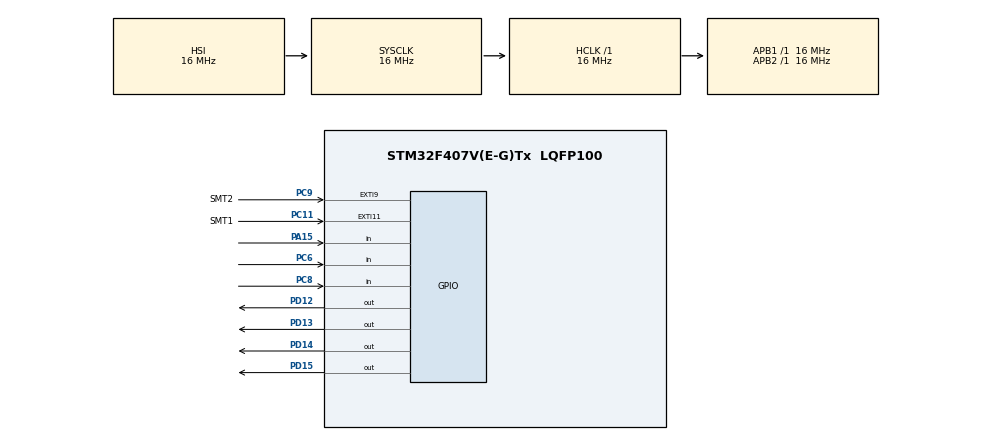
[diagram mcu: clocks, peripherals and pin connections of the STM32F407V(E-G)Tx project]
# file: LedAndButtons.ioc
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Mcu.Family=STM32F4
Mcu.Name=STM32F407V(E-G)Tx
Mcu.Package=LQFP100
NVIC.EXTI15_10_IRQn=true\:0\:0\:false\:false\:true\:true\:true
NVIC.EXTI9_5_IRQn=true\:0\:0\:false\:false\:true\:true\:true
NVIC.PriorityGroup=NVIC_PRIORITYGROUP_4
PA15.Signal=GPIO_Input
PC11.GPIO_Label=SMT1
PC11.GPIO_ModeDefaultEXTI=GPIO_MODE_IT_FALLING
PC11.Signal=GPXTI11
PC6.Signal=GPIO_Input
PC8.Signal=GPIO_Input
PC9.GPIO_Label=SMT2
PC9.GPIO_ModeDefaultEXTI=GPIO_MODE_IT_FALLING
PC9.Signal=GPXTI9
PD12.Signal=GPIO_Output
PD13.Signal=GPIO_Output
PD14.Signal=GPIO_Output
PD15.Signal=GPIO_Output
ProjectManager.HeapSize=0x200
ProjectManager.StackSize=0x400
ProjectManager.TargetToolchain=STM32CubeIDE
RCC.AHBFreq_Value=16000000
RCC.APB1Freq_Value=16000000
RCC.APB2Freq_Value=16000000
RCC.CortexFreq_Value=16000000
RCC.HSE_VALUE=25000000
RCC.HSI_VALUE=16000000
RCC.LSE_VALUE=32768
RCC.SYSCLKFreq_VALUE=16000000
RCC.VCOOutputFreq_Value=192000000
board=custom

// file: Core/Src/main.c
/* USER CODE BEGIN Header */
/**
  ******************************************************************************
  * @file           : main.c
  * @brief          : Main program body
  ******************************************************************************
  * @attention
  *
  * <h2><center>&copy; Copyright (c) 2021 STMicroelectronics.
  * All rights reserved.</center></h2>
  *
  * This software component is licensed by ST under BSD 3-Clause license,
  * the "License"; You may not use this file except in compliance with the
  * License. You may obtain a copy of the License at:
  *                        opensource.org/licenses/BSD-3-Clause
  *
  ******************************************************************************
  */
/* USER CODE END Header */
#include "main.h"

/* USER CODE BEGIN PV */
int del=500; //Задание глобальной переменной измерения задержки для extern в файл с прерываниями;
/* USER CODE END PV */

void SystemClock_Config(void);
static void MX_GPIO_Init(void);

int main(void)
{

  /* MCU Configuration--------------------------------------------------------*/

  /* Reset of all peripherals, Initializes the Flash interface and the Systick. */
  HAL_Init();

  /* Configure the system clock */
  SystemClock_Config();

  /* Initialize all configured peripherals */
  MX_GPIO_Init();
  /* USER CODE BEGIN 2 */

  unsigned int LD1_4 [4] = {GPIO_PIN_12, GPIO_PIN_13, GPIO_PIN_14, GPIO_PIN_15}; // Обьявление и инициализация переменной для хранения адресов портов (0х1000 - 0х8000)  ;
  unsigned int pin = 0;

  for (int i = 0; i < 5; i++) //Проверка всех светодиодов перед работой программы;
  {
	  HAL_GPIO_WritePin(GPIOD, LD1_4, GPIO_PIN_SET);
	  HAL_Delay(50);
	  HAL_GPIO_WritePin(GPIOD, LD1_4, GPIO_PIN_RESET);
	  HAL_Delay(50);
  }
  /* USER CODE END 2 */

  /* Infinite loop */
  /* USER CODE BEGIN WHILE */
  while (1)
  {

	  HAL_GPIO_WritePin(GPIOD, LD1_4[pin], GPIO_PIN_SET);
	  HAL_Delay(del/2);
	  HAL_GPIO_WritePin(GPIOD, LD1_4[pin], GPIO_PIN_RESET);
	  HAL_Delay(del/2);

	  if(HAL_GPIO_ReadPin(GPIOC, GPIO_PIN_8) == GPIO_PIN_RESET) // Переключение светодиода по часовой стрелке
	  {
		  HAL_Delay(1000);
		  if (LD1_4[pin] == GPIO_PIN_15)
			  pin = 0; //GPIO_PIN_12;
		  else
			  pin++;
	  }

	  if(HAL_GPIO_ReadPin(GPIOC, GPIO_PIN_6) == GPIO_PIN_RESET) // Переключение светодиода против часовой стрелки
	  {
	  		  HAL_Delay(1000);
	  		  if (LD1_4[pin] == GPIO_PIN_12)
	  			  pin = 4; //GPIO_PIN_15;
	  		  else
	  			  pin--;
	  	  }
	  if(HAL_GPIO_ReadPin(GPIOA, GPIO_PIN_15) == GPIO_PIN_RESET) // Пауза и возобновление
		  {
			  HAL_Delay(1000);
			  HAL_GPIO_WritePin(GPIOD, LD1_4, GPIO_PIN_SET);
			  while (1)
				  if(HAL_GPIO_ReadPin(GPIOA, GPIO_PIN_15) == GPIO_PIN_RESET)
					  break;
			  HAL_GPIO_WritePin(GPIOD, LD1_4, GPIO_PIN_RESET);
			  HAL_Delay(1000);
		  }

    /* USER CODE END WHILE */

  }
}

void SystemClock_Config(void)
{
  RCC_OscInitTypeDef RCC_OscInitStruct = {0};
  RCC_ClkInitTypeDef RCC_ClkInitStruct = {0};

  /** Configure the main internal regulator output voltage
  */
  __HAL_RCC_PWR_CLK_ENABLE();
  __HAL_PWR_VOLTAGESCALING_CONFIG(PWR_REGULATOR_VOLTAGE_SCALE1);
  /** Initializes the RCC Oscillators according to the specified parameters
  * in the RCC_OscInitTypeDef structure.
  */
  RCC_OscInitStruct.OscillatorType = RCC_OSCILLATORTYPE_HSI;
  RCC_OscInitStruct.HSIState = RCC_HSI_ON;
  RCC_OscInitStruct.HSICalibrationValue = RCC_HSICALIBRATION_DEFAULT;
  RCC_OscInitStruct.PLL.PLLState = RCC_PLL_NONE;
  if (HAL_RCC_OscConfig(&RCC_OscInitStruct) != HAL_OK)
  {
    Error_Handler();
  }
  /** Initializes the CPU, AHB and APB buses clocks
  */
  RCC_ClkInitStruct.ClockType = RCC_CLOCKTYPE_HCLK|RCC_CLOCKTYPE_SYSCLK
                              |RCC_CLOCKTYPE_PCLK1|RCC_CLOCKTYPE_PCLK2;
  RCC_ClkInitStruct.SYSCLKSource = RCC_SYSCLKSOURCE_HSI;
  RCC_ClkInitStruct.AHBCLKDivider = RCC_SYSCLK_DIV1;
  RCC_ClkInitStruct.APB1CLKDivider = RCC_HCLK_DIV1;
  RCC_ClkInitStruct.APB2CLKDivider = RCC_HCLK_DIV1;

  if (HAL_RCC_ClockConfig(&RCC_ClkInitStruct, FLASH_LATENCY_0) != HAL_OK)
  {
    Error_Handler();
  }
}

static void MX_GPIO_Init(void)
{
  GPIO_InitTypeDef GPIO_InitStruct = {0};

  /* GPIO Ports Clock Enable */
  __HAL_RCC_GPIOD_CLK_ENABLE();
  __HAL_RCC_GPIOC_CLK_ENABLE();
  __HAL_RCC_GPIOA_CLK_ENABLE();

  /*Configure GPIO pin Output Level */
  HAL_GPIO_WritePin(GPIOD, GPIO_PIN_12|GPIO_PIN_13|GPIO_PIN_14|GPIO_PIN_15, GPIO_PIN_RESET);

  /*Configure GPIO pins : PD12 PD13 PD14 PD15 */
  GPIO_InitStruct.Pin = GPIO_PIN_12|GPIO_PIN_13|GPIO_PIN_14|GPIO_PIN_15;
  GPIO_InitStruct.Mode = GPIO_MODE_OUTPUT_PP;
  GPIO_InitStruct.Pull = GPIO_NOPULL;
  GPIO_InitStruct.Speed = GPIO_SPEED_FREQ_LOW;
  HAL_GPIO_Init(GPIOD, &GPIO_InitStruct);

  /*Configure GPIO pins : PC6 PC8 */
  GPIO_InitStruct.Pin = GPIO_PIN_6|GPIO_PIN_8;
  GPIO_InitStruct.Mode = GPIO_MODE_INPUT;
  GPIO_InitStruct.Pull = GPIO_NOPULL;
  HAL_GPIO_Init(GPIOC, &GPIO_InitStruct);

  /*Configure GPIO pins : SMT2_Pin SMT1_Pin */
  GPIO_InitStruct.Pin = SMT2_Pin|SMT1_Pin;
  GPIO_InitStruct.Mode = GPIO_MODE_IT_FALLING;
  GPIO_InitStruct.Pull = GPIO_NOPULL;
  HAL_GPIO_Init(GPIOC, &GPIO_InitStruct);

  /*Configure GPIO pin : PA15 */
  GPIO_InitStruct.Pin = GPIO_PIN_15;
  GPIO_InitStruct.Mode = GPIO_MODE_INPUT;
  GPIO_InitStruct.Pull = GPIO_NOPULL;
  HAL_GPIO_Init(GPIOA, &GPIO_InitStruct);

  /* EXTI interrupt init*/
  HAL_NVIC_SetPriority(EXTI9_5_IRQn, 0, 0);
  HAL_NVIC_EnableIRQ(EXTI9_5_IRQn);

  HAL_NVIC_SetPriority(EXTI15_10_IRQn, 0, 0);
  HAL_NVIC_EnableIRQ(EXTI15_10_IRQn);

}

void Error_Handler(void)
{
  __disable_irq();
  while (1)
  {
  }
}

/************************ (C) COPYRIGHT STMicroelectronics *****END OF FILE****/
